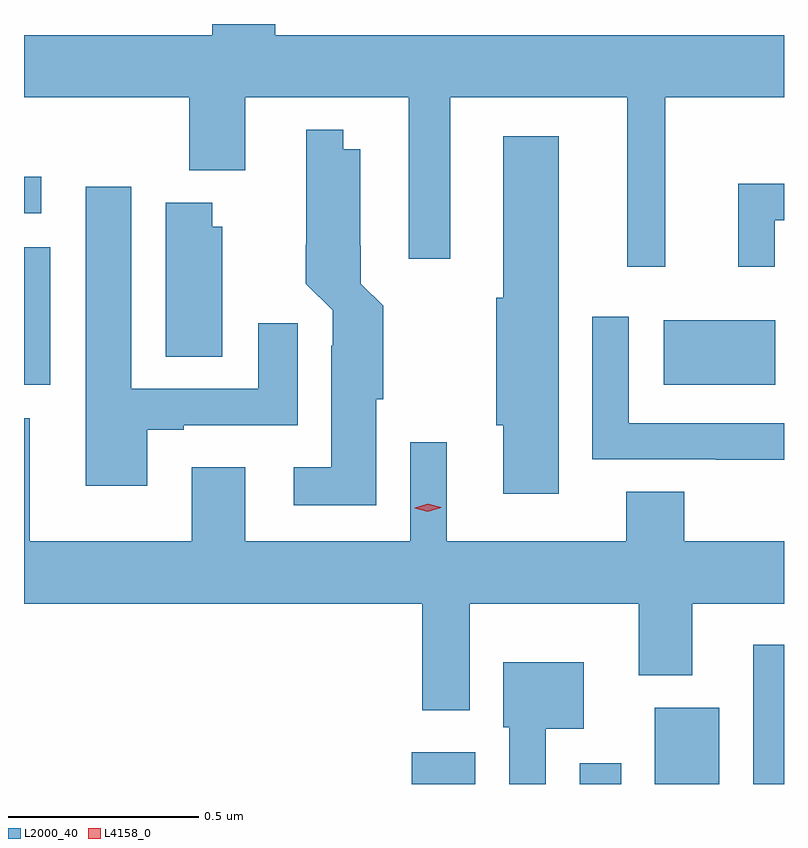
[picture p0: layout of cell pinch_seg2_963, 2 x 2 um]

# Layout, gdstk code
import gdstk
lib = gdstk.Library(unit=1e-6, precision=1e-09)
def R(c, l, rs):  # rectangles x0, y0, x1, y1
    for r in rs: c.add(gdstk.rectangle(r[:2], r[2:], *l))
def P(c, l, *ps):  # polygons
    for p in ps: c.add(gdstk.Polygon(p, *l))
L2000_40 = (2000, 40)
L4158_0 = (4158, 0)

pinch_seg2_963 = lib.new_cell('pinch_seg2_963')
R(pinch_seg2_963, L2000_40, [(330.956,653.821,331.123,653.905), (331.397,653.821,331.507,653.875), (331.595,653.821,331.765,654.022), (331.854,653.821,331.935,654.187), (329.935,654.872,330.004,655.234), (331.619,654.872,331.912,655.042), (329.935,655.323,329.98,655.419)])
P(pinch_seg2_963, L2000_40, [(331.622,655.628),(331.935,655.628),(331.935,655.792),(330.596,655.792),(330.596,655.821),(330.431,655.821),(330.431,655.792),(329.935,655.792),(329.935,655.628),(330.37,655.628),(330.37,655.436),(330.517,655.436),(330.517,655.628),(330.947,655.628),(330.947,655.203),(331.057,655.203),(331.057,655.628),(331.523,655.628),(331.523,655.182),(331.622,655.182)],
  [(330.862,654.834),(330.88,654.834),(330.88,655.079),(330.821,655.138),(330.821,655.237),(330.82,655.237),(330.82,655.492),(330.775,655.492),(330.775,655.543),(330.678,655.543),(330.678,655.24),(330.677,655.24),(330.677,655.138),(330.747,655.068),(330.747,654.974),(330.743,654.974),(330.743,654.655),(330.645,654.655),(330.645,654.554),(330.862,654.554)],
  [(331.342,655.525),(331.196,655.525),(331.196,655.101),(331.178,655.101),(331.178,654.765),(331.196,654.765),(331.196,654.585),(331.342,654.585)],
  [(331.911,655.305),(331.935,655.305),(331.935,655.401),(331.814,655.401),(331.814,655.182),(331.911,655.182)],
  [(330.259,654.753),(330.355,654.753),(330.355,654.765),(330.655,654.765),(330.655,655.033),(330.551,655.033),(330.551,654.861),(330.217,654.861),(330.217,655.393),(330.098,655.393),(330.098,654.606),(330.259,654.606)],
  [(330.457,655.287),(330.43,655.287),(330.43,655.351),(330.308,655.351),(330.308,654.946),(330.457,654.946)],
  [(331.935,654.771),(331.527,654.771),(331.527,655.051),(331.431,655.051),(331.431,654.675),(331.756,654.675),(331.756,654.674),(331.935,654.674)],
  [(331.108,654.296),(331.553,654.296),(331.553,654.107),(331.693,654.107),(331.693,654.296),(331.935,654.296),(331.935,654.46),(331.673,654.46),(331.673,654.59),(331.52,654.59),(331.52,654.46),(331.048,654.46),(331.048,654.721),(330.951,654.721),(330.951,654.46),(330.517,654.46),(330.517,654.655),(330.377,654.655),(330.377,654.46),(329.95,654.46),(329.95,654.784),(329.935,654.784),(329.935,654.296),(330.983,654.296),(330.983,654.015),(331.108,654.015)],
  [(331.308,653.966),(331.408,653.966),(331.408,654.142),(331.196,654.142),(331.196,653.97),(331.212,653.97),(331.212,653.821),(331.308,653.821)])
P(pinch_seg2_963, L4158_0, [(330.998,654.538),(330.963,654.547),(330.963,654.548),(330.963,654.548),(330.998,654.558),(331.033,654.549),(331.033,654.548),(331.033,654.548)])

lib.write_gds('pinch_seg2_963.gds')
